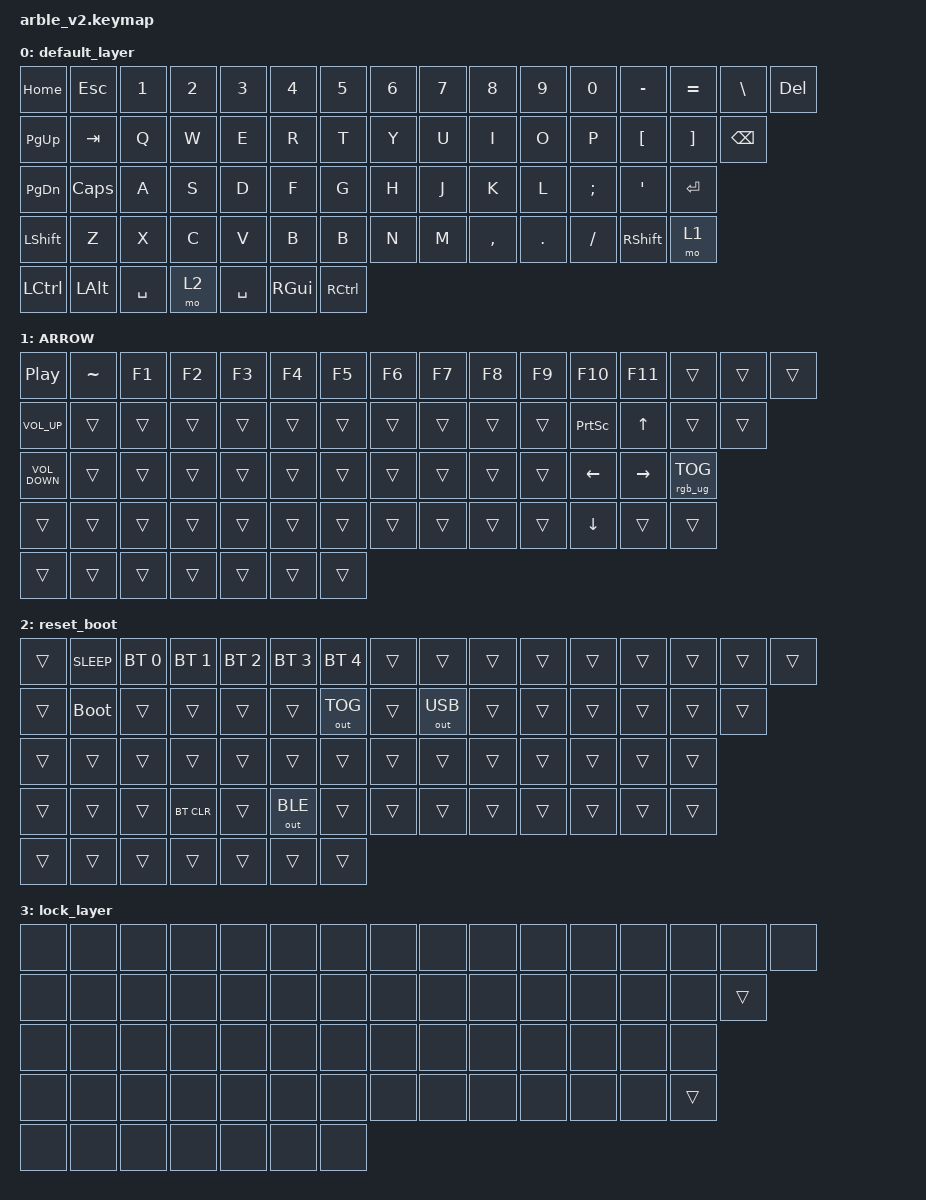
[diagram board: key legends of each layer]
/*
 * Copyright (c) 2021 Nick Winans
 *
 * SPDX-License-Identifier: MIT
 */

#include <behaviors.dtsi>
#include <dt-bindings/zmk/bt.h>
#include <dt-bindings/zmk/keys.h>
#include <dt-bindings/zmk/outputs.h>
#include <dt-bindings/zmk/rgb.h>

/ {
    keymap {
        compatible = "zmk,keymap";

        default_layer {
            bindings = <
&kp HOME          &kp ESCAPE    &kp N1     &kp N2  &kp N3     &kp N4         &kp N5     &kp N6  &kp N7  &kp N8     &kp N9   &kp N0    &kp MINUS  &kp EQUAL  &kp BACKSLASH  &kp DELETE
&kp PAGE_UP       &kp TAB       &kp Q      &kp W   &kp E      &kp R          &kp T      &kp Y   &kp U   &kp I      &kp O    &kp P     &kp LBKT   &kp RBKT   &kp BACKSPACE
&kp PG_DN         &kp CAPS      &kp A      &kp S   &kp D      &kp F          &kp G      &kp H   &kp J   &kp K      &kp L    &kp SEMI  &kp SQT    &kp RET
&kp LSHFT         &kp Z         &kp X      &kp C   &kp V      &kp B          &kp B      &kp N   &kp M   &kp COMMA  &kp DOT  &kp FSLH  &kp RSHFT  &mo 1
&kp LEFT_CONTROL  &kp LEFT_ALT  &kp SPACE  &mo 2   &kp SPACE  &kp RIGHT_GUI  &kp RCTRL
            >;
        };

        ARROW {
            bindings = <
&kp C_PLAY_PAUSE   &kp TILDE  &kp F1  &kp F2  &kp F3  &kp F4  &kp F5  &kp F6  &kp F7  &kp F8  &kp F9  &kp F10          &kp F11       &trans           &trans  &trans
&kp C_VOLUME_UP    &trans     &trans  &trans  &trans  &trans  &trans  &trans  &trans  &trans  &trans  &kp PRINTSCREEN  &kp UP_ARROW  &trans           &trans
&kp C_VOLUME_DOWN  &trans     &trans  &trans  &trans  &trans  &trans  &trans  &trans  &trans  &trans  &kp LEFT         &kp RIGHT     &rgb_ug RGB_TOG
&trans             &trans     &trans  &trans  &trans  &trans  &trans  &trans  &trans  &trans  &trans  &kp DOWN         &trans        &trans
&trans             &trans     &trans  &trans  &trans  &trans  &trans
            >;
        };

        reset_boot {
            bindings = <
&trans  &kp K_SLEEP  &bt BT_SEL 0  &bt BT_SEL 1  &bt BT_SEL 2  &bt BT_SEL 3  &bt BT_SEL 4  &trans  &trans        &trans  &trans  &trans  &trans  &trans  &trans  &trans
&trans  &bootloader  &trans        &trans        &trans        &trans        &out OUT_TOG  &trans  &out OUT_USB  &trans  &trans  &trans  &trans  &trans  &trans
&trans  &trans       &trans        &trans        &trans        &trans        &trans        &trans  &trans        &trans  &trans  &trans  &trans  &trans
&trans  &trans       &trans        &bt BT_CLR    &trans        &out OUT_BLE  &trans        &trans  &trans        &trans  &trans  &trans  &trans  &trans
&trans  &trans       &trans        &trans        &trans        &trans        &trans
            >;
        };

        lock_layer {
            bindings = <
&none  &none  &none  &none  &none  &none  &none  &none  &none  &none  &none  &none  &none  &none   &none   &none
&none  &none  &none  &none  &none  &none  &none  &none  &none  &none  &none  &none  &none  &none   &trans
&none  &none  &none  &none  &none  &none  &none  &none  &none  &none  &none  &none  &none  &none
&none  &none  &none  &none  &none  &none  &none  &none  &none  &none  &none  &none  &none  &trans
&none  &none  &none  &none  &none  &none  &none
            >;
        };
    };
};
